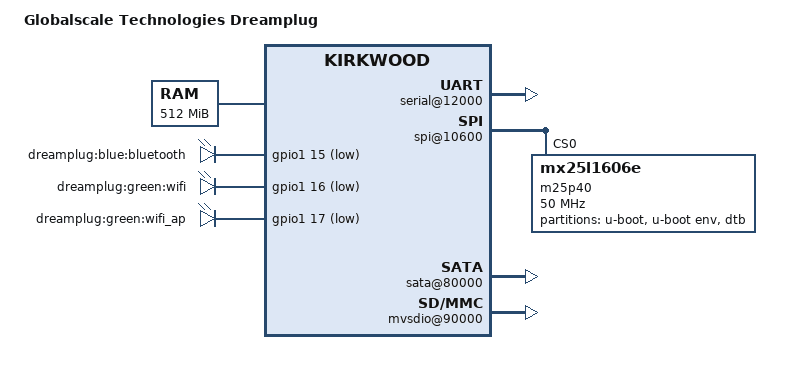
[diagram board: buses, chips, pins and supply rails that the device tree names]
/dts-v1/;

/include/ "kirkwood.dtsi"
/include/ "kirkwood-6281.dtsi"

/ {
	model = "Globalscale Technologies Dreamplug";
	compatible = "globalscale,dreamplug-003-ds2001", "globalscale,dreamplug", "marvell,kirkwood-88f6281", "marvell,kirkwood";

	memory {
		device_type = "memory";
		reg = <0x00000000 0x20000000>;
	};

	chosen {
		bootargs = "console=ttyS0,115200n8 earlyprintk";
	};

	ocp@f1000000 {
		pinctrl: pinctrl@10000 {
			pmx_led_bluetooth: pmx-led-bluetooth {
				marvell,pins = "mpp47";
				marvell,function = "gpio";
			};
			pmx_led_wifi: pmx-led-wifi {
				marvell,pins = "mpp48";
				marvell,function = "gpio";
			};
			pmx_led_wifi_ap: pmx-led-wifi-ap {
				marvell,pins = "mpp49";
				marvell,function = "gpio";
			};
		};
		serial@12000 {
			status = "ok";
		};

		spi@10600 {
			status = "okay";
			pinctrl-0 = <&pmx_spi>;
			pinctrl-names = "default";

			m25p40@0 {
				#address-cells = <1>;
				#size-cells = <1>;
				compatible = "mx25l1606e";
				reg = <0>;
				spi-max-frequency = <50000000>;
				mode = <0>;

				partition@0 {
					reg = <0x0 0x80000>;
					label = "u-boot";
				};

				partition@100000 {
					reg = <0x100000 0x10000>;
					label = "u-boot env";
				};

				partition@180000 {
					reg = <0x180000 0x10000>;
					label = "dtb";
				};
			};
		};

		sata@80000 {
			status = "okay";
			nr-ports = <1>;
		};

		mvsdio@90000 {
			pinctrl-0 = <&pmx_sdio>;
			pinctrl-names = "default";
			status = "okay";
			/* No CD or WP GPIOs */
			broken-cd;
		};
	};

	gpio-leds {
		compatible = "gpio-leds";
		pinctrl-0 = <&pmx_led_bluetooth &pmx_led_wifi
			     &pmx_led_wifi_ap >;
		pinctrl-names = "default";

		bluetooth {
			label = "dreamplug:blue:bluetooth";
			gpios = <&gpio1 15 1>;
		};
		wifi {
			label = "dreamplug:green:wifi";
			gpios = <&gpio1 16 1>;
		};
		wifi-ap {
			label = "dreamplug:green:wifi_ap";
			gpios = <&gpio1 17 1>;
		};
	};
};
